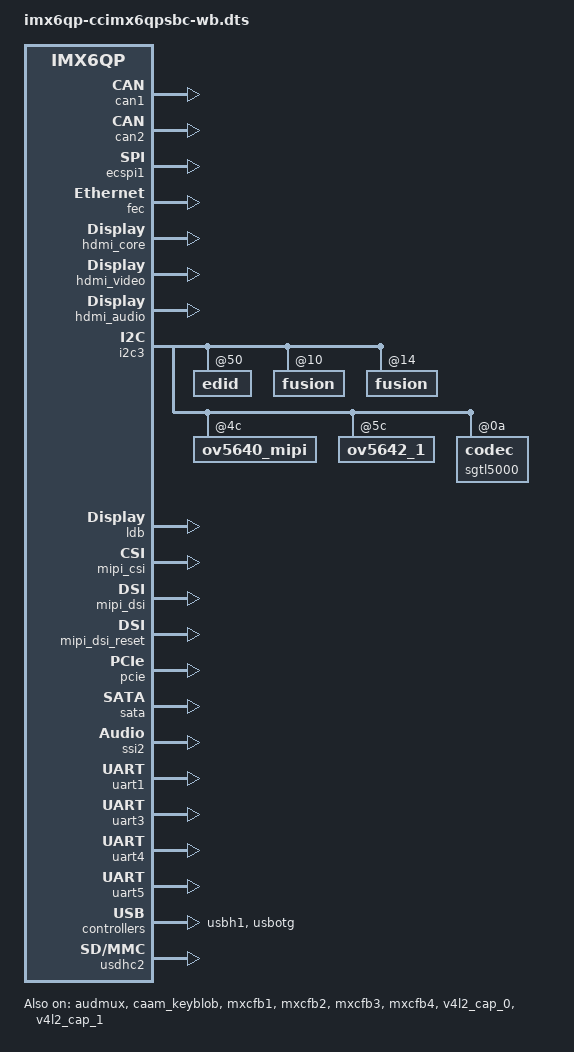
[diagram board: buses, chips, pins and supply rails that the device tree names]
/*
 * Copyright 2017, Digi International Inc.
 *
 * Permission to use, copy, modify, and/or distribute this software for any
 * purpose with or without fee is hereby granted, provided that the above
 * copyright notice and this permission notice appear in all copies.
 *
 * THE SOFTWARE IS PROVIDED "AS IS" AND THE AUTHOR DISCLAIMS ALL WARRANTIES
 * WITH REGARD TO THIS SOFTWARE INCLUDING ALL IMPLIED WARRANTIES OF
 * MERCHANTABILITY AND FITNESS. IN NO EVENT SHALL THE AUTHOR BE LIABLE FOR
 * ANY SPECIAL, DIRECT, INDIRECT, OR CONSEQUENTIAL DAMAGES OR ANY DAMAGES
 * WHATSOEVER RESULTING FROM LOSS OF USE, DATA OR PROFITS, WHETHER IN AN
 * ACTION OF CONTRACT, NEGLIGENCE OR OTHER TORTIOUS ACTION, ARISING OUT OF
 * OR IN CONNECTION WITH THE USE OR PERFORMANCE OF THIS SOFTWARE.
 */

/dts-v1/;
#include <dt-bindings/gpio/gpio.h>
/* i.MX6 QuadPlus CPU */
#include "imx6qp.dtsi"
/* ConnectCore 6 QuadPlus (wireless/bluetooth variant) */
#include "imx6qp-ccimx6-wb.dtsi"
/* ConnectCore 6 QuadPlus SBC carrier board */
#include "imx6qp-ccimx6qpsbc.dtsi"

&audmux {
	status = "okay";
};

&caam_keyblob {
	status = "okay";
};

&can1 {
	status = "okay";
};

&can2 {
	status = "okay";
};

&codec_power {
	status = "okay";
};

&ecspi1 {
	status = "okay";

//	spidev@0 {
//		status = "okay";
//	};
};

&fec {
	status = "okay";
};

&hdmi_core {
	status = "okay";
};

&hdmi_video {
	status = "okay";
};

&hdmi_audio {
	status = "okay";
};

&i2c3 {
	status = "okay";

	edid@50 {
		status = "okay";
	};

	fusion@10 {
		status = "okay";
	};

	/*
	 * Fusion touch controller has I2C address 0x10. If using the latest Video Adapter Board,
	 * an I2C-address translator moves it to address 0x14. This device tree has two 'fusion'
	 * entries (one at 0x10 and another at 0x14), so that the touch works out of the box in old
	 * and new displays, although this will make the kernel complain for the entry where the touch
	 * does not respond. You can remove the 'fusion' node that doesn't match your display
	 * to avoid this error message.
	 */
	fusion@14 {
		status = "okay";
	};

	/* MIPI-CSI2 camera */
	ov5640_mipi: ov5640_mipi@4c {
		status = "okay";
	};

	/* Parallel camera CSI0 */
	ov5642_1: ov5642_1@5c {
		status = "okay";
	};

	sgtl5000: codec@0a {
		status = "okay";
	};
};

&ldb {
	status = "okay";

	lvds-channel@0 {
		status = "okay";
	};
	lvds-channel@1 {
		status = "okay";
	};
};

&mipi_csi {
	status = "okay";
};

&mipi_dsi {
	status = "okay";
};

&mipi_dsi_reset {
	status = "okay";
};

&mxcfb1 {
	status = "okay";
};

&mxcfb2 {
	status = "okay";
};

&mxcfb3 {
	status = "okay";
};

&mxcfb4 {
	status = "okay";
};

&pcie {
	status = "okay";
};

&sata {
	status = "okay";
};

&sound_hdmi {
	status = "okay";
};

&sound_sgtl5000 {
	status = "okay";
};

&ssi2 {
	status = "okay";
};

&uart1 {
	status = "okay";
};

&uart3 {
	status = "okay";
};

&uart4 {
	status = "okay";
};

&uart5 {
	status = "okay";
};

&usbh1 {
	status = "okay";
};

&usbotg {
	status = "okay";
};

&usdhc2 {
	status = "okay";
};

&v4l2_cap_0 {
	status = "okay";
};

&v4l2_cap_1 {
	status = "okay";
};

&v4l2_out {
	status = "okay";
};
